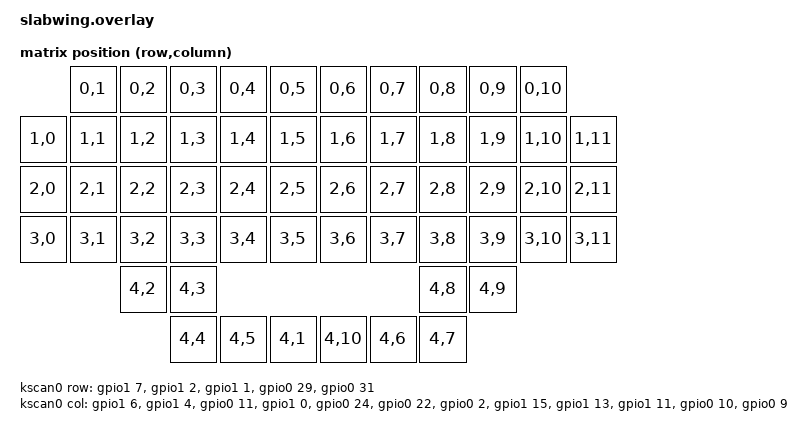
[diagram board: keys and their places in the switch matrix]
/*
 * Slabwing - hand-wired unibody split, nice!nano v2, Kailh Choc v1
 * Matrix: 5 rows x 12 columns (6 columns per half), diodes col2row
 * (diode cathode/black band away from the switch, towards the row wire).
 *
 * Wiring (nice!nano pin labels):
 *   cols 1-6  (left half, left->right):  P1.06 P1.04 P0.11 P1.00 P0.24 P0.22
 *   cols 7-12 (right half, left->right): P0.02 P1.15 P1.13 P1.11 P0.10 P0.09
 *   rows 1-5  (top->bottom):             P1.07 P1.02 P1.01 P0.29 P0.31
 *   free for the nice!view:              P0.06 (CS)  P0.17 (MOSI)  P0.20 (SCK)
 */

#include <dt-bindings/zmk/matrix_transform.h>

/ {
    chosen {
        zmk,kscan = &kscan0;
        zmk,matrix-transform = &default_transform;
    };

    default_transform: keymap_transform_0 {
        compatible = "zmk,matrix-transform";
        columns = <12>;
        rows = <5>;
        // 56 keys in physical order (verified with the matrix test, 2026-10-11).
        // Unused matrix slots: RC(0,0) RC(0,11) RC(4,0) RC(4,11).
        //
        //        C2   C3   C4   C5   C6        C7   C8   C9   C10  C11            <- top row (no C1/C12)
        //   C1   C2   C3   C4   C5   C6        C7   C8   C9   C10  C11  C12
        //   C1   C2   C3   C4   C5   C6        C7   C8   C9   C10  C11  C12
        //   C1   C2   C3   C4   C5   C6        C7   C8   C9   C10  C11  C12
        //             C3   C4                            C9   C10                <- bottom row
        //              thumbs L: outer R5C5, mid R5C6, inner R5C2
        //              thumbs R: inner R5C11, mid R5C7, outer R5C8
        map = <
        RC(0,1) RC(0,2) RC(0,3) RC(0,4) RC(0,5)   RC(0,6) RC(0,7) RC(0,8) RC(0,9) RC(0,10)
RC(1,0) RC(1,1) RC(1,2) RC(1,3) RC(1,4) RC(1,5)   RC(1,6) RC(1,7) RC(1,8) RC(1,9) RC(1,10) RC(1,11)
RC(2,0) RC(2,1) RC(2,2) RC(2,3) RC(2,4) RC(2,5)   RC(2,6) RC(2,7) RC(2,8) RC(2,9) RC(2,10) RC(2,11)
RC(3,0) RC(3,1) RC(3,2) RC(3,3) RC(3,4) RC(3,5)   RC(3,6) RC(3,7) RC(3,8) RC(3,9) RC(3,10) RC(3,11)
                RC(4,2) RC(4,3)                                   RC(4,8) RC(4,9)
                        RC(4,4) RC(4,5) RC(4,1)   RC(4,10) RC(4,6) RC(4,7)
        >;
    };

    kscan0: kscan {
        compatible = "zmk,kscan-gpio-matrix";
        wakeup-source;
        diode-direction = "col2row";

        row-gpios
            = <&gpio1  7 (GPIO_ACTIVE_HIGH | GPIO_PULL_DOWN)>   /* R1 P1.07 (middle pad) */
            , <&gpio1  2 (GPIO_ACTIVE_HIGH | GPIO_PULL_DOWN)>   /* R2 P1.02 (middle pad) */
            , <&gpio1  1 (GPIO_ACTIVE_HIGH | GPIO_PULL_DOWN)>   /* R3 P1.01 (middle pad) */
            , <&gpio0 29 (GPIO_ACTIVE_HIGH | GPIO_PULL_DOWN)>   /* R4 P0.29 */
            , <&gpio0 31 (GPIO_ACTIVE_HIGH | GPIO_PULL_DOWN)>   /* R5 P0.31 */
            ;

        col-gpios
            = <&gpio1  6 GPIO_ACTIVE_HIGH>   /* C1  P1.06 */
            , <&gpio1  4 GPIO_ACTIVE_HIGH>   /* C2  P1.04 */
            , <&gpio0 11 GPIO_ACTIVE_HIGH>   /* C3  P0.11 */
            , <&gpio1  0 GPIO_ACTIVE_HIGH>   /* C4  P1.00 */
            , <&gpio0 24 GPIO_ACTIVE_HIGH>   /* C5  P0.24 */
            , <&gpio0 22 GPIO_ACTIVE_HIGH>   /* C6  P0.22 */
            , <&gpio0  2 GPIO_ACTIVE_HIGH>   /* C7  P0.02 */
            , <&gpio1 15 GPIO_ACTIVE_HIGH>   /* C8  P1.15 */
            , <&gpio1 13 GPIO_ACTIVE_HIGH>   /* C9  P1.13 */
            , <&gpio1 11 GPIO_ACTIVE_HIGH>   /* C10 P1.11 */
            , <&gpio0 10 GPIO_ACTIVE_HIGH>   /* C11 P0.10 (NFC pin, used as GPIO) */
            , <&gpio0  9 GPIO_ACTIVE_HIGH>   /* C12 P0.09 (NFC pin, used as GPIO) */
            ;
    };
};
